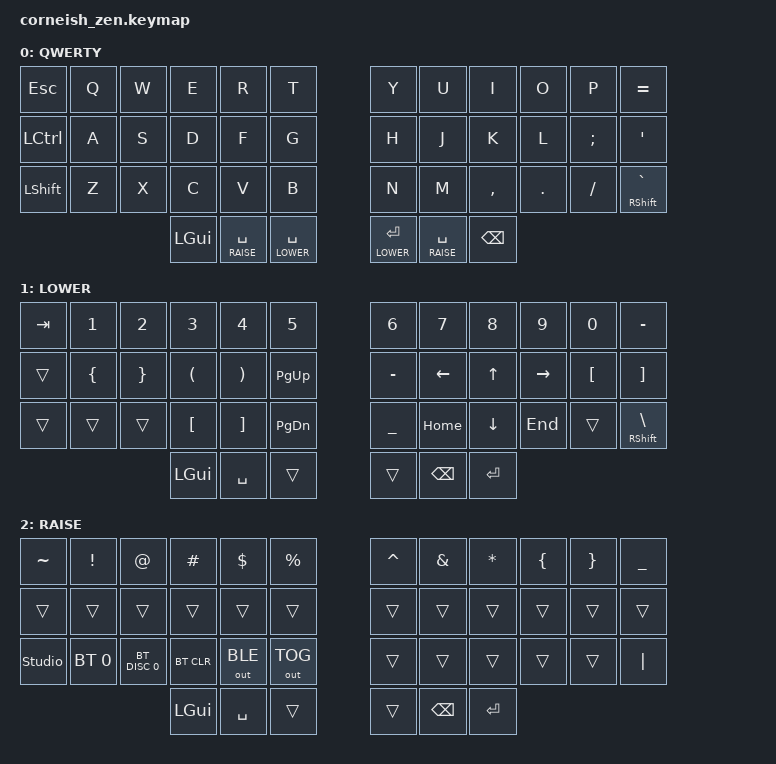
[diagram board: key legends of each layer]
#include <behaviors.dtsi>
#include <dt-bindings/zmk/keys.h>
#include <dt-bindings/zmk/bt.h>
#include <dt-bindings/zmk/outputs.h>

#define DEFAULT 0
#define LOWER   1
#define RAISE   2

/ {
    chosen {
        zmk,physical-layout = &foostan_corne_6col_layout;
        // zmk,physical-layout = &foostan_corne_5col_layout;
    };
};

/ {
    behaviors {
        ht1: hold_tap_1 {
            compatible = "zmk,behavior-hold-tap";
            label = "HOLD_TAP_1";
            #binding-cells = <2>;
            flavor = "tap-preferred";
            tapping-term-ms = <200>;
            quick-tap-ms = <125>;
            bindings = <&mo>, <&kp>;
        };
    };

    keymap {
        compatible = "zmk,keymap";

        default_layer {
            display-name = "QWERTY";
// -----------------------------------------------------------------------------------------
// | ESC  | Q | W | E | R          | T          |   | Y         | U          | I    | O  | P  | =    |
// | CTRL | A | S | D | F          | G          |   | H         | J          | K    | L  | ;  | '    |
// | SHFT | Z | X | C | V          | B          |   | N         | M          | ,    | .  | /  | SHFT,` |
//                | GUI | RSE, SPC | LWR, SPC  |   | LWR, ENT | RSE, SPC  | BSPC |
            bindings = <
&kp ESC   &kp Q &kp W &kp E    &kp R           &kp T            &kp Y           &kp U           &kp I     &kp O   &kp P    &kp EQUAL
&kp LCTRL &kp A &kp S &kp D    &kp F           &kp G            &kp H           &kp J           &kp K     &kp L   &kp SEMI &kp SQT
&kp LSHFT &kp Z &kp X &kp C    &kp V           &kp B            &kp N           &kp M           &kp COMMA &kp DOT &kp FSLH &mt RSHFT GRAVE
                       &kp LGUI &lt RAISE SPACE &lt LOWER SPACE  &lt LOWER ENTER &lt RAISE SPACE &kp BSPC
            >;
        };

        lower_layer {
            display-name = "LOWER";
// -----------------------------------------------------------------------------------------
// | TAB | 1 | 2 | 3 | 4  | 5     |   | 6 | 7        | 8   | 9   | 0 | -     |
// |     | { | } | ( | )  | PG_UP |   | - | LFT      | UP  | RGT | [ | ]     |
// |     |   |   | [ | ]  | PG_DN |   | _ | HOME     | DWN | END |   | SHFT,\|
//               |   | SPC|       |   |   | BSPC     | ENT |
            bindings = <
&kp TAB &kp N1   &kp N2   &kp N3   &kp N4   &kp N5    &kp N6    &kp N7   &kp N8   &kp N9    &kp N0   &kp MINUS
&trans &kp LBRC &kp RBRC &kp LPAR &kp RPAR &kp PG_UP &kp MINUS &kp LEFT &kp UP   &kp RIGHT &kp LBKT &kp RBKT
&trans  &trans   &trans   &kp LBKT &kp RBKT &kp PG_DN &kp UNDER &kp HOME &kp DOWN &kp END   &trans   &mt RSHFT BSLH
                           &kp LGUI &kp SPACE &trans   &trans    &kp BSPC &kp ENTER
            >;
        };

        raise_layer {
            display-name = "RAISE";
// -----------------------------------------------------------------------------------------
// | ~ | ! | @ | # | $ | % |   | ^ | & | * | { | } | _    |
// |   |   |   |   |   |   |   |   |   |   |   |   |      |
// |   |   |   |   |   |   |   |   |   |   |   |   | |    |
//             |   |   |   |   |   | BSPC | ENT |
            bindings = <
&kp TILDE &kp EXCL &kp AT &kp HASH &kp DLLR &kp PERCENT &kp CARET &kp AMPS &kp STAR &kp LBRC &kp RBRC &kp UNDER
&trans    &trans   &trans &trans   &trans   &trans      &trans    &trans   &trans   &trans   &trans   &trans
&studio_unlock &bt BT_SEL 0 &bt BT_DISC 0 &bt BT_CLR &out OUT_BLE &out OUT_TOG &trans &trans &trans &trans &trans &kp PIPE
                          &kp LGUI &kp SPACE &trans     &trans    &kp BSPC &kp ENTER
            >;
        };
    };
};
